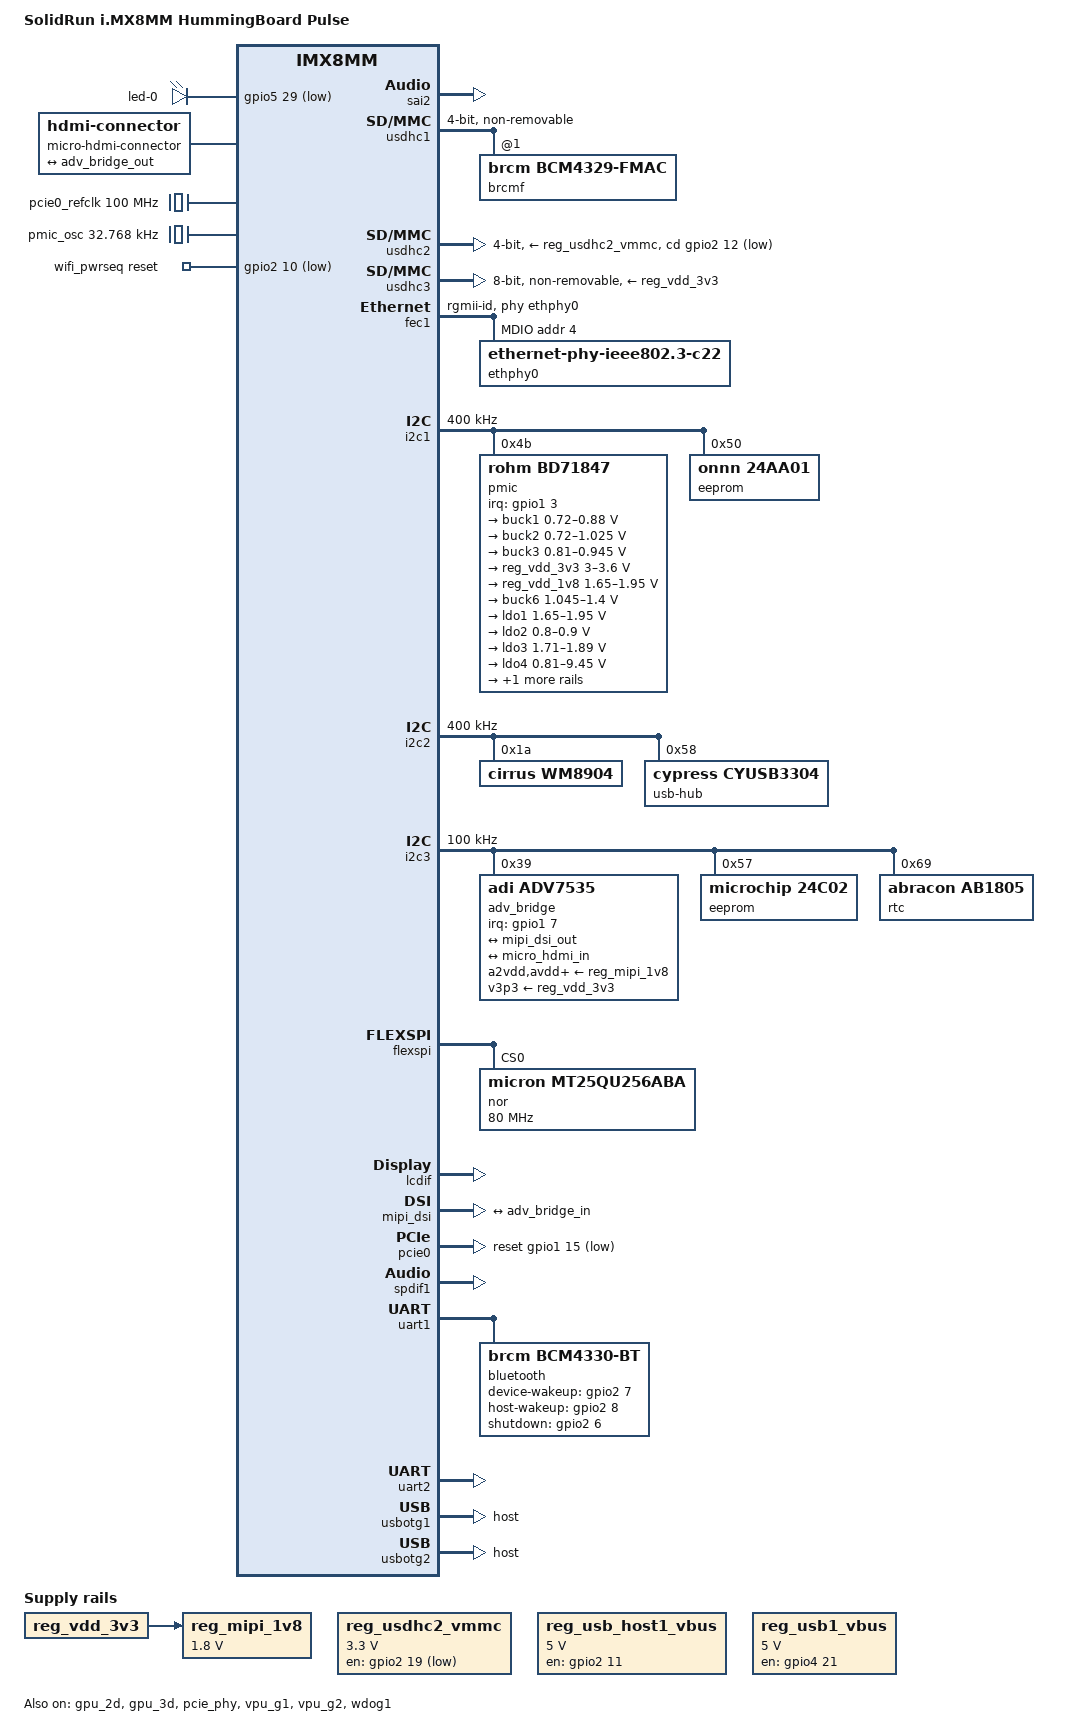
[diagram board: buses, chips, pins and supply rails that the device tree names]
// SPDX-License-Identifier: (GPL-2.0 OR MIT)
/*
 * Copyright (C) 2020 Josua Mayer <josua@solid-run.com>
 */

/dts-v1/;

#include "imx8mm.dtsi"

#include <dt-bindings/phy/phy-imx8-pcie.h>

/ {
	model = "SolidRun i.MX8MM HummingBoard Pulse";
	compatible = "solidrun,hummingboard-pulse", "fsl,imx8mm";

	aliases {
		/* battery-backed external RTC as default */
		rtc0 = &rtc;
		rtc1 = &snvs_rtc;
	};

	chosen {
		stdout-path = &uart2;
	};

	led {
		compatible = "gpio-leds";
		pinctrl-names = "default";
		pinctrl-0 = <&pinctrl_led>;

		led-0 {
			gpios = <&gpio5 29 GPIO_ACTIVE_LOW>;
			linux,default-trigger = "heartbeat";
		};
	};

	micro-hdmi-connector {
		compatible = "hdmi-connector";
		type = "d";

		port {
			micro_hdmi_in: endpoint {
				remote-endpoint = <&adv_bridge_out>;
			};
		};
	};

	pcie0_refclk: pcie0-refclk {
		compatible = "fixed-clock";
		#clock-cells = <0>;
		clock-frequency = <100000000>;
	};

	pmic_osc: clock-pmic {
		compatible = "fixed-clock";
		#clock-cells = <0>;
		clock-frequency = <32768>;
		clock-output-names = "pmic_osc";
	};

	reg_mipi_1v8: regulator-mipi-1v8 {
		/* TS9011DCX */
		compatible = "regulator-fixed";
		regulator-name = "mipi-1v8";
		regulator-min-microvolt = <1800000>;
		regulator-max-microvolt = <1800000>;
		vin-supply = <&reg_vdd_3v3>;
	};

	reg_usdhc2_vmmc: regulator-usdhc2-vmmc {
		compatible = "regulator-fixed";
		pinctrl-names = "default";
		pinctrl-0 = <&pinctrl_usdhc2_vmmc>;
		regulator-name = "usdhc2-vmmc";
		regulator-min-microvolt = <3300000>;
		regulator-max-microvolt = <3300000>;
		gpio = <&gpio2 19 GPIO_ACTIVE_LOW>;
		off-on-delay = <20000>;
	};

	reg_usb_host1_vbus: regulator-usb-host1-vbus {
		compatible = "regulator-fixed";
		regulator-name = "usb-host1-vbus";
		gpio = <&gpio2 11 GPIO_ACTIVE_HIGH>;
		enable-active-high;
		regulator-boot-on;
		pinctrl-names = "default";
		pinctrl-0 = <&pinctrl_usb_host1_vbus>;
		regulator-min-microvolt = <5000000>;
		regulator-max-microvolt = <5000000>;
	};

	reg_usb1_vbus: regulator-usb1-vbus {
		compatible = "regulator-fixed";
		regulator-name = "usb1-vbus";
		gpio = <&gpio4 21 GPIO_ACTIVE_HIGH>;
		enable-active-high;
		regulator-boot-on;
		pinctrl-names = "default";
		pinctrl-0 = <&pinctrl_usb1_vbus>;
		regulator-min-microvolt = <5000000>;
		regulator-max-microvolt = <5000000>;
	};

	reserved-memory {
		#address-cells = <2>;
		#size-cells = <2>;
		ranges;

		rpmsg_reserved: rpmsg@0xb8000000 {
			no-map;
			reg = <0 0xb8000000 0 0x400000>;
		};
	};

	sound-micro-hdmi {
		compatible = "simple-audio-card";
		simple-audio-card,format = "i2s";
		simple-audio-card,mclk-fs = <256>;
		simple-audio-card,name = "micro-hdmi-sound";

		simple-audio-card,cpu {
			sound-dai = <&spdif1>;
		};
		simple-audio-card,codec {
			sound-dai = <&adv_bridge>;
		};
	};

	sound-wm8904 {
		compatible = "simple-audio-card";
		simple-audio-card,name = "wm8904-audio";
		simple-audio-card,format = "i2s";
		simple-audio-card,frame-master = <&sound_wm8904_cpu>;
		simple-audio-card,bitclock-master = <&sound_wm8904_cpu>;
		simple-audio-card,widgets =
			"Headphone", "Headphone Jack",
			"Microphone", "Headphone Jack";
		simple-audio-card,routing =
			"Headphone Jack", "HPOUTL",
			"Headphone Jack", "HPOUTR",
			"Headphone Jack", "MICBIAS",
			"IN2R", "Headphone Jack";

		sound_wm8904_cpu: simple-audio-card,cpu {
			sound-dai = <&sai2>;
			dai-tdm-slot-num = <2>;
			dai-tdm-slot-width = <16>;
		};

		sound_wm8904_codec: simple-audio-card,codec {
			sound-dai = <&wm8904>;
		};
	};

	wifi_pwrseq: wifi-pwrseq {
		compatible = "mmc-pwrseq-simple";
		reset-gpios = <&gpio2 10 GPIO_ACTIVE_LOW>;
	};
};

&iomuxc {
	pinctrl_wdog: wdoggrp {
		fsl,pins = <
			MX8MM_IOMUXC_GPIO1_IO02_WDOG1_WDOG_B		0xc6
		>;
	};

	pinctrl_uart1_bt: uart1btgrp {
		fsl,pins = <
			MX8MM_IOMUXC_SD1_DATA4_GPIO2_IO6	0x41	/* bt-en */
			MX8MM_IOMUXC_SD1_DATA6_GPIO2_IO8	0x41	/* bt-wake-host*/ 
			MX8MM_IOMUXC_SD1_DATA5_GPIO2_IO7	0x41	/* bt-wake-device*/ 
		>;
	};

	pinctrl_uart1: uart1grp {
		fsl,pins = <
			MX8MM_IOMUXC_UART1_RXD_UART1_DCE_RX	0x140
			MX8MM_IOMUXC_UART1_TXD_UART1_DCE_TX	0x140
			MX8MM_IOMUXC_UART3_RXD_UART1_DCE_CTS_B	0x140
			MX8MM_IOMUXC_UART3_TXD_UART1_DCE_RTS_B	0x140
		>;
	};

	pinctrl_uart2: uart2grp {
		fsl,pins = <
			MX8MM_IOMUXC_UART2_RXD_UART2_DCE_RX	0x140
			MX8MM_IOMUXC_UART2_TXD_UART2_DCE_TX	0x140
		>;
	};

	pinctrl_led: ledgrp {
		fsl,pins = <
			MX8MM_IOMUXC_UART4_TXD_GPIO5_IO29	0x61 /* open drain, pull up */
		>;
	};

	pinctrl_usdhc1_wifi: usdhc1wifigrp {
		fsl,pins = <
			MX8MM_IOMUXC_SD1_RESET_B_GPIO2_IO10	0x41	/* wl-en */
			MX8MM_IOMUXC_SD1_DATA7_GPIO2_IO9	0x141	/* wl-wake-host */
		>;
	};

	pinctrl_usdhc1: usdhc1grp {
		fsl,pins = <
			MX8MM_IOMUXC_SD1_CLK_USDHC1_CLK		0x190
			MX8MM_IOMUXC_SD1_CMD_USDHC1_CMD		0x1d0
			MX8MM_IOMUXC_SD1_DATA0_USDHC1_DATA0	0x1d0
			MX8MM_IOMUXC_SD1_DATA1_USDHC1_DATA1	0x1d0
			MX8MM_IOMUXC_SD1_DATA2_USDHC1_DATA2	0x1d0
			MX8MM_IOMUXC_SD1_DATA3_USDHC1_DATA3	0x1d0
			MX8MM_IOMUXC_GPIO1_IO00_ANAMIX_REF_CLK_32K 0x141
		>;
	};

	pinctrl_usdhc1_100mhz: usdhc1100mhzgrp {
		fsl,pins = <
			MX8MM_IOMUXC_SD1_CLK_USDHC1_CLK		0x194
			MX8MM_IOMUXC_SD1_CMD_USDHC1_CMD		0x1d4
			MX8MM_IOMUXC_SD1_DATA0_USDHC1_DATA0	0x1d4
			MX8MM_IOMUXC_SD1_DATA1_USDHC1_DATA1	0x1d4
			MX8MM_IOMUXC_SD1_DATA2_USDHC1_DATA2	0x1d4
			MX8MM_IOMUXC_SD1_DATA3_USDHC1_DATA3	0x1d4
		>;
	};

	pinctrl_usdhc1_200mhz: usdhc1200mhzgrp {
		fsl,pins = <
			MX8MM_IOMUXC_SD1_CLK_USDHC1_CLK		0x196
			MX8MM_IOMUXC_SD1_CMD_USDHC1_CMD		0x1d6
			MX8MM_IOMUXC_SD1_DATA0_USDHC1_DATA0	0x1d6
			MX8MM_IOMUXC_SD1_DATA1_USDHC1_DATA1	0x1d6
			MX8MM_IOMUXC_SD1_DATA2_USDHC1_DATA2	0x1d6
			MX8MM_IOMUXC_SD1_DATA3_USDHC1_DATA3	0x1d6
		>;
	};

	pinctrl_usdhc2_cd: usdhc2cdgrp {
		fsl,pins = <
			MX8MM_IOMUXC_SD2_CD_B_GPIO2_IO12	0x1c4
		>;
	};

	pinctrl_usdhc2_vmmc: usdhc2vmmcgrp {
		fsl,pins = <
			MX8MM_IOMUXC_SD2_RESET_B_GPIO2_IO19	0x41
		>;
	};

	pinctrl_usdhc2_vqmmc: usdhc2vqmmcgrp {
		fsl,pins = <
			MX8MM_IOMUXC_GPIO1_IO04_GPIO1_IO4	0x41
		>;
	};

	pinctrl_usdhc2: usdhc2grp {
		fsl,pins = <
			MX8MM_IOMUXC_SD2_CLK_USDHC2_CLK		0x190
			MX8MM_IOMUXC_SD2_CMD_USDHC2_CMD		0x1d0
			MX8MM_IOMUXC_SD2_DATA0_USDHC2_DATA0	0x1d0
			MX8MM_IOMUXC_SD2_DATA1_USDHC2_DATA1	0x1d0
			MX8MM_IOMUXC_SD2_DATA2_USDHC2_DATA2	0x1d0
			MX8MM_IOMUXC_SD2_DATA3_USDHC2_DATA3	0x1d0
			MX8MM_IOMUXC_GPIO1_IO04_USDHC2_VSELECT	0x1d0
		>;
	};

	pinctrl_usdhc2_100mhz: usdhc2100mhzgrp {
		fsl,pins = <
			MX8MM_IOMUXC_SD2_CLK_USDHC2_CLK		0x194
			MX8MM_IOMUXC_SD2_CMD_USDHC2_CMD		0x1d4
			MX8MM_IOMUXC_SD2_DATA0_USDHC2_DATA0	0x1d4
			MX8MM_IOMUXC_SD2_DATA1_USDHC2_DATA1	0x1d4
			MX8MM_IOMUXC_SD2_DATA2_USDHC2_DATA2	0x1d4
			MX8MM_IOMUXC_SD2_DATA3_USDHC2_DATA3	0x1d4
			MX8MM_IOMUXC_GPIO1_IO04_USDHC2_VSELECT	0x1d0
		>;
	};

	pinctrl_usdhc2_200mhz: usdhc2200mhzgrp {
		fsl,pins = <
			MX8MM_IOMUXC_SD2_CLK_USDHC2_CLK		0x196
			MX8MM_IOMUXC_SD2_CMD_USDHC2_CMD		0x1d6
			MX8MM_IOMUXC_SD2_DATA0_USDHC2_DATA0	0x1d6
			MX8MM_IOMUXC_SD2_DATA1_USDHC2_DATA1	0x1d6
			MX8MM_IOMUXC_SD2_DATA2_USDHC2_DATA2	0x1d6
			MX8MM_IOMUXC_SD2_DATA3_USDHC2_DATA3	0x1d6
			MX8MM_IOMUXC_GPIO1_IO04_USDHC2_VSELECT	0x1d0
		>;
	};

	pinctrl_usdhc3: usdhc3grp {
		fsl,pins = <
			MX8MM_IOMUXC_NAND_WE_B_USDHC3_CLK		0x190
			MX8MM_IOMUXC_NAND_WP_B_USDHC3_CMD		0x1d0
			MX8MM_IOMUXC_NAND_DATA04_USDHC3_DATA0		0x1d0
			MX8MM_IOMUXC_NAND_DATA05_USDHC3_DATA1		0x1d0
			MX8MM_IOMUXC_NAND_DATA06_USDHC3_DATA2		0x1d0
			MX8MM_IOMUXC_NAND_DATA07_USDHC3_DATA3		0x1d0
			MX8MM_IOMUXC_NAND_RE_B_USDHC3_DATA4		0x1d0
			MX8MM_IOMUXC_NAND_CE2_B_USDHC3_DATA5		0x1d0
			MX8MM_IOMUXC_NAND_CE3_B_USDHC3_DATA6		0x1d0
			MX8MM_IOMUXC_NAND_CLE_USDHC3_DATA7		0x1d0
			MX8MM_IOMUXC_NAND_CE1_B_USDHC3_STROBE 		0x190
		>;
	};

	pinctrl_usdhc3_100mhz: usdhc3grp100mhz {
		fsl,pins = <
			MX8MM_IOMUXC_NAND_WE_B_USDHC3_CLK		0x194
			MX8MM_IOMUXC_NAND_WP_B_USDHC3_CMD		0x1d4
			MX8MM_IOMUXC_NAND_DATA04_USDHC3_DATA0		0x1d4
			MX8MM_IOMUXC_NAND_DATA05_USDHC3_DATA1		0x1d4
			MX8MM_IOMUXC_NAND_DATA06_USDHC3_DATA2		0x1d4
			MX8MM_IOMUXC_NAND_DATA07_USDHC3_DATA3		0x1d4
			MX8MM_IOMUXC_NAND_RE_B_USDHC3_DATA4		0x1d4
			MX8MM_IOMUXC_NAND_CE2_B_USDHC3_DATA5		0x1d4
			MX8MM_IOMUXC_NAND_CE3_B_USDHC3_DATA6		0x1d4
			MX8MM_IOMUXC_NAND_CLE_USDHC3_DATA7		0x1d4
			MX8MM_IOMUXC_NAND_CE1_B_USDHC3_STROBE 		0x194
		>;
	};

	pinctrl_usdhc3_200mhz: usdhc3grp200mhz {
		fsl,pins = <
			MX8MM_IOMUXC_NAND_WE_B_USDHC3_CLK		0x196
			MX8MM_IOMUXC_NAND_WP_B_USDHC3_CMD		0x1d6
			MX8MM_IOMUXC_NAND_DATA04_USDHC3_DATA0		0x1d6
			MX8MM_IOMUXC_NAND_DATA05_USDHC3_DATA1		0x1d6
			MX8MM_IOMUXC_NAND_DATA06_USDHC3_DATA2		0x1d6
			MX8MM_IOMUXC_NAND_DATA07_USDHC3_DATA3		0x1d6
			MX8MM_IOMUXC_NAND_RE_B_USDHC3_DATA4		0x1d6
			MX8MM_IOMUXC_NAND_CE2_B_USDHC3_DATA5		0x1d6
			MX8MM_IOMUXC_NAND_CE3_B_USDHC3_DATA6		0x1d6
			MX8MM_IOMUXC_NAND_CLE_USDHC3_DATA7		0x1d6
			MX8MM_IOMUXC_NAND_CE1_B_USDHC3_STROBE 		0x196
		>;
	};

	pinctrl_fec1: fec1grp {
		fsl,pins = <
			MX8MM_IOMUXC_ENET_MDC_ENET1_MDC		0x3
			MX8MM_IOMUXC_ENET_MDIO_ENET1_MDIO	0x3
			MX8MM_IOMUXC_ENET_TD3_ENET1_RGMII_TD3	0x1f
			MX8MM_IOMUXC_ENET_TD2_ENET1_RGMII_TD2	0x1f
			MX8MM_IOMUXC_ENET_TD1_ENET1_RGMII_TD1	0x1f
			MX8MM_IOMUXC_ENET_TD0_ENET1_RGMII_TD0	0x1f
			MX8MM_IOMUXC_ENET_RD3_ENET1_RGMII_RD3	0x91
			MX8MM_IOMUXC_ENET_RD2_ENET1_RGMII_RD2	0x91
			MX8MM_IOMUXC_ENET_RD1_ENET1_RGMII_RD1	0x91
			MX8MM_IOMUXC_ENET_RD0_ENET1_RGMII_RD0	0x91
			MX8MM_IOMUXC_ENET_TXC_ENET1_RGMII_TXC	0x1f
			MX8MM_IOMUXC_ENET_RXC_ENET1_RGMII_RXC	0x91
			MX8MM_IOMUXC_ENET_RX_CTL_ENET1_RGMII_RX_CTL	0x91
			MX8MM_IOMUXC_ENET_TX_CTL_ENET1_RGMII_TX_CTL	0x1f
			MX8MM_IOMUXC_SAI2_RXC_GPIO4_IO22	0x19
		>;
	};

	pinctrl_usb_host1_vbus: usbhost1vbusgrp {
		fsl,pins = <
			MX8MM_IOMUXC_SD1_STROBE_GPIO2_IO11		0x03
		>;
	};

	pinctrl_usb1_vbus: usb1vbusgrp {
		fsl,pins = <
			MX8MM_IOMUXC_SAI2_RXFS_GPIO4_IO21		0x03
		>;
	};

	pinctrl_i2c1: i2c1grp {
		fsl,pins = <
			MX8MM_IOMUXC_I2C1_SCL_I2C1_SCL			0x400001c3
			MX8MM_IOMUXC_I2C1_SDA_I2C1_SDA			0x400001c3
		>;
	};

	pinctrl_i2c2: i2c2grp {
		fsl,pins = <
			MX8MM_IOMUXC_I2C2_SCL_I2C2_SCL			0x400001c3
			MX8MM_IOMUXC_I2C2_SDA_I2C2_SDA			0x400001c3
		>;
	};

	pinctrl_i2c3: i2c3grp {
		fsl,pins = <
			MX8MM_IOMUXC_I2C3_SCL_I2C3_SCL			0x400001c3
			MX8MM_IOMUXC_I2C3_SDA_I2C3_SDA			0x400001c3
		>;
	};

	pinctrl_i2c3_dsi_ts_int: i2c3dsitsintgrp {
		fsl,pins = <
			MX8MM_IOMUXC_GPIO1_IO07_GPIO1_IO7		0x19
		>;
	};

	pinctrl_pmic: pmicirq {
		fsl,pins = <
			MX8MM_IOMUXC_GPIO1_IO03_GPIO1_IO3		0x141
		>;
	};

	pinctrl_flexspi0: flexspi0grp {
		fsl,pins = <
			MX8MM_IOMUXC_NAND_ALE_QSPI_A_SCLK		0x1c2
			MX8MM_IOMUXC_NAND_CE0_B_QSPI_A_SS0_B		0x82
			MX8MM_IOMUXC_NAND_DATA00_QSPI_A_DATA0		0x82
			MX8MM_IOMUXC_NAND_DATA01_QSPI_A_DATA1		0x82
			MX8MM_IOMUXC_NAND_DATA02_QSPI_A_DATA2		0x82
			MX8MM_IOMUXC_NAND_DATA03_QSPI_A_DATA3		0x82
		>;
	};

	pinctrl_pcie0: pcie0grp {
		fsl,pins = <
			MX8MM_IOMUXC_UART4_RXD_PCIE1_CLKREQ_B	0x61 /* open drain, pull up */
			MX8MM_IOMUXC_GPIO1_IO05_GPIO1_IO5	0x41 /* disable-gpio */
			MX8MM_IOMUXC_GPIO1_IO15_GPIO1_IO15	0x41 /* reset-gpio */
		>;
	};

	pinctrl_spdif1: spdif1-grp {
		fsl,pins = <
			MX8MM_IOMUXC_SPDIF_TX_SPDIF1_OUT	0xd6
		>;
	};

	pinctrl_sai2: sai2grp {
		fsl,pins = <
			MX8MM_IOMUXC_SAI2_TXFS_SAI2_TX_SYNC     0xd6
			MX8MM_IOMUXC_SAI2_TXC_SAI2_TX_BCLK      0xd6
			MX8MM_IOMUXC_SAI2_MCLK_SAI2_MCLK        0xd6
			MX8MM_IOMUXC_SAI2_TXD0_SAI2_TX_DATA0    0xd6
			MX8MM_IOMUXC_SAI2_RXD0_SAI2_RX_DATA0    0xd6
		>;
	};
};

/* linked to wm8904 codec */
&sai2 {
	#sound-dai-cells = <0>;
	pinctrl-names = "default";
	pinctrl-0 = <&pinctrl_sai2>;
	assigned-clocks = <&clk IMX8MM_CLK_SAI2>;
	assigned-clock-parents = <&clk IMX8MM_AUDIO_PLL1_OUT>;
	assigned-clock-rates = <24576000>;
	status = "okay";
};

/* wifi (optional) */
&usdhc1 {
	#address-cells = <1>;
	#size-cells = <0>;
	pinctrl-names = "default", "state_100mhz", "state_200mhz";
	pinctrl-0 = <&pinctrl_usdhc1>, <&pinctrl_usdhc1_wifi>;
	pinctrl-1 = <&pinctrl_usdhc1_100mhz>, <&pinctrl_usdhc1_wifi>;
	pinctrl-2 = <&pinctrl_usdhc1_200mhz>, <&pinctrl_usdhc1_wifi>;
	bus-width = <4>;
	mmc-pwrseq = <&wifi_pwrseq>;
	cap-power-off-card;
	non-removable;
	status = "okay";

	brcmf: brcmf@1 {
		reg = <1>;
		compatible = "brcm,bcm4329-fmac";
		/*
		 * disable OOB IRQ because interrupt-storm was observed ...
		 * interrupt-parent = <&gpio2>;
		 * interrupts = <9 IRQ_TYPE_LEVEL_HIGH>;
		 * interrupt-names = "host-wake";
		 */
	};
};

/* microSD */
&usdhc2 {
	pinctrl-names = "default", "state_100mhz", "state_200mhz";
	pinctrl-0 = <&pinctrl_usdhc2>, <&pinctrl_usdhc2_cd>;
	pinctrl-1 = <&pinctrl_usdhc2_100mhz>, <&pinctrl_usdhc2_cd>;
	pinctrl-2 = <&pinctrl_usdhc2_200mhz>, <&pinctrl_usdhc2_cd>;
	cd-gpios = <&gpio2 12 GPIO_ACTIVE_LOW>;
	bus-width = <4>;
	vmmc-supply = <&reg_usdhc2_vmmc>;
	status = "okay";
};

/* eMMC */
&usdhc3 {
	pinctrl-names = "default", "state_100mhz", "state_200mhz";
	pinctrl-0 = <&pinctrl_usdhc3>;
	pinctrl-1 = <&pinctrl_usdhc3_100mhz>;
	pinctrl-2 = <&pinctrl_usdhc3_200mhz>;
	vmmc-supply = <&reg_vdd_3v3>;
	vqmmc-supply = <&reg_vdd_1v8>;
	bus-width = <8>;
	non-removable;
	status = "okay";
};

&fec1 {
	pinctrl-names = "default";
	pinctrl-0 = <&pinctrl_fec1>;
	phy-mode = "rgmii-id";
	phy-handle = <&ethphy0>;
	fsl,magic-packet;
	status = "okay";

	mdio {
		#address-cells = <1>;
		#size-cells = <0>;

		ethphy0: ethernet-phy@4 {
			compatible = "ethernet-phy-ieee802.3-c22";
			reg = <4>;
			at803x,led-act-blind-workaround;
			at803x,eee-okay;
			at803x,vddio-1p8v;
		};
	};
};

&i2c1 {
	clock-frequency = <400000>;
	pinctrl-names = "default";
	pinctrl-0 = <&pinctrl_i2c1>;
	status = "okay";

	pmic@4b {
		compatible = "rohm,bd71847";
		reg = <0x4b>;
		pinctrl-names = "default";
		pinctrl-0 = <&pinctrl_pmic>;
		interrupt-parent = <&gpio1>;
		interrupts = <3 IRQ_TYPE_LEVEL_LOW>;
		rohm,reset-snvs-powered;
		rohm,short-press-ms = <10>;
		rohm,long-press-ms = <2000>;
		#clock-cells = <0>;
		clocks = <&osc_32k 0>;
		clock-output-names = "clk-32k-out";

		regulators {
			#address-cells = <1>;
			#size-cells = <0>;

			/* vdd_soc: 0.805-0.900V (typ=0.8V) */
			BUCK1 {
				regulator-name = "buck1";
				regulator-min-microvolt = <720000>;
				regulator-max-microvolt = <880000>;
				regulator-boot-on;
				regulator-always-on;
				regulator-ramp-delay = <1250>;
			};

			/* vdd_arm_0v9 */
			BUCK2 {
				regulator-name = "buck2";
				regulator-min-microvolt = <720000>;
				regulator-max-microvolt = <1025000>;
				regulator-boot-on;
				regulator-always-on;
				regulator-ramp-delay = <1250>;
				rohm,dvs-run-voltage = <1000000>;
				rohm,dvs-idle-voltage = <900000>;
			};

			/*
			 * Note that BUCK 3~6 are actually called BUCK 5~8
			 * on the iMX8 Mini and BD71847 datasheets, as well
			 * as the schematics from SolidRun.
			 * Someone screwed up the bindings for the regulators.
			 */
			/* vdd_dram / pu_0v9 (GPU+VPU) (typ=0.9V) */
			BUCK3 {
				regulator-name = "buck3";
				regulator-min-microvolt = <810000>;
				regulator-max-microvolt = <945000>;
				regulator-boot-on;
				regulator-always-on;
			};

			reg_vdd_3v3: BUCK4 {
				regulator-name = "buck4";
				regulator-min-microvolt = <3000000>;
				regulator-max-microvolt = <3600000>;
				regulator-boot-on;
				regulator-always-on;
			};

			reg_vdd_1v8: BUCK5 {
				regulator-name = "buck5";
				regulator-min-microvolt = <1650000>;
				regulator-max-microvolt = <1950000>;
				regulator-boot-on;
				regulator-always-on;
			};

			/* nvcc_dram_1v1 */
			BUCK6 {
				regulator-name = "buck6";
				regulator-min-microvolt = <1045000>;
				regulator-max-microvolt = <1400000>;
				regulator-boot-on;
				regulator-always-on;
			};

			/* nvcc_snvs_1v8 */
			LDO1 {
				regulator-name = "ldo1";
				regulator-min-microvolt = <1650000>;
				regulator-max-microvolt = <1950000>;
				regulator-boot-on;
				regulator-always-on;
			};

			/* vdd_snvs_0v8 */
			LDO2 {
				regulator-name = "ldo2";
				regulator-min-microvolt = <800000>;
				regulator-max-microvolt = <900000>;
				regulator-boot-on;
				regulator-always-on;
			};

			/* vdda_1v8 */
			LDO3 {
				regulator-name = "ldo3";
				regulator-min-microvolt = <1710000>;
				regulator-max-microvolt = <1890000>;
				regulator-boot-on;
				regulator-always-on;
			};

			/* vdd_phy_0v9 for MIPI PHY */
			LDO4 {
				regulator-name = "ldo4";
				regulator-min-microvolt = <810000>;
				regulator-max-microvolt = <9450000>;
				regulator-boot-on;
				regulator-always-on;
			};

			/* vdd_phy_1v2 feeds MIPI PHY */
			LDO6 {
				regulator-name = "ldo6";
				regulator-min-microvolt = <1140000>;
				regulator-max-microvolt = <1260000>;
				regulator-boot-on;
				regulator-always-on;
			};
		};
	};

	eeprom@50 {
		compatible = "onnn,24aa01", "atmel,24c02";
		reg = <0x50>;
		pagesize = <16>;
	};
};

&i2c2 {
	clock-frequency = <400000>;
	pinctrl-names = "default";
	pinctrl-0 = <&pinctrl_i2c2>;
	status = "okay";

	wm8904: codec@1a {
		#sound-dai-cells = <0>;
		compatible = "cirrus,wm8904", "wlf,wm8904";
		reg = <0x1a>;
		clocks = <&clk IMX8MM_CLK_SAI2_ROOT>;
		clock-names = "mclk";
		status = "okay";
	};

	usb-hub@58 {
		compatible = "cypress,cyusb3304";
		reg = <0x58>;
	};
};

&i2c3 {
	clock-frequency = <100000>;
	pinctrl-names = "default";
	pinctrl-0 = <&pinctrl_i2c3>;
	status = "okay";

	adv_bridge: bridge@39 {
		compatible = "adi,adv7535";
		reg = <0x39>, <0x3b>, <0x3c>;
		reg-names = "main", "edid", "cec";
		adi,dsi-lanes = <4>;
		pinctrl-0 = <&pinctrl_i2c3_dsi_ts_int>;
		interrupt-parent = <&gpio1>;
		interrupts = <7 IRQ_TYPE_LEVEL_LOW>;
		a2vdd-supply = <&reg_mipi_1v8>;
		avdd-supply = <&reg_mipi_1v8>;
		dvdd-supply = <&reg_mipi_1v8>;
		pvdd-supply = <&reg_mipi_1v8>;
		v1p2-supply = <&reg_mipi_1v8>;
		v3p3-supply = <&reg_vdd_3v3>;
		#sound-dai-cells = <0>;

		ports {
			#address-cells = <1>;
			#size-cells = <0>;

			port@0 {
				reg = <0>;
				adv_bridge_in: endpoint {
					remote-endpoint = <&mipi_dsi_out>;
				};
			};

			port@1 {
				reg = <1>;
				adv_bridge_out: endpoint {
					remote-endpoint = <&micro_hdmi_in>;
				};
			};
		};
	};

	eeprom@57 {
		compatible = "microchip,24c02", "atmel,24c02";
		reg = <0x57>;
		pagesize = <16>;
	};

	rtc: rtc@69 {
		compatible = "abracon,ab1805";
		reg = <0x69>;
		abracon,tc-diode = "schottky";
		abracon,tc-resistor = <3>;
	};
};

&flexspi {
	pinctrl-names = "default";
	pinctrl-0 = <&pinctrl_flexspi0>;
	status = "okay";

	nor@0 {
		compatible = "micron,mt25qu256aba";
		reg = <0>;
		#address-cells = <1>;
		#size-cells = <1>;
		spi-max-frequency = <80000000>;
		spi-nor,ddr-quad-read-dummy = <6>;
	};
};

&gpu_2d {
	status = "okay";
};

&gpu_3d {
	status = "okay";
};

&lcdif {
	status = "okay";
};

&mipi_dsi {
	samsung,esc-clock-frequency = <10000000>;
	status = "okay";

	ports {
		port@1 {
			reg = <1>;
			mipi_dsi_out: endpoint {
				remote-endpoint = <&adv_bridge_in>;
			};
		};
	};
};

&pcie_phy {
	fsl,refclk-pad-mode = <IMX8_PCIE_REFCLK_PAD_UNUSED>;
	fsl,clkreq-unsupported;
	status = "okay";
};

/* connected to on-Carrier i210 ethernet controller or on-SOM AI accelerator */
&pcie0 {
	pinctrl-names = "default";
	pinctrl-0 = <&pinctrl_pcie0>;
	disable-gpio = <&gpio1 5 GPIO_ACTIVE_LOW>;
	reset-gpio = <&gpio1 15 GPIO_ACTIVE_LOW>;
	clocks = <&clk IMX8MM_CLK_PCIE1_ROOT>,
		 <&clk IMX8MM_CLK_PCIE1_AUX>,
		 <&clk IMX8MM_CLK_PCIE1_PHY>,
		 <&pcie0_refclk>;
	clock-names = "pcie", "pcie_aux", "pcie_phy", "pcie_bus";
	reserved-region = <&rpmsg_reserved>;
	status = "okay";
};

/* linked to adv7535 HDMI bridge */
&spdif1 {
	#sound-dai-cells = <0>;
	pinctrl-names = "default";
	pinctrl-0 = <&pinctrl_spdif1>;
	status = "okay";
};

&vpu_g1 {
	status = "okay";
};

&vpu_g2 {
	status = "okay";
};

&uart1 {
	pinctrl-names = "default";
	pinctrl-0 = <&pinctrl_uart1>;
	assigned-clocks = <&clk IMX8MM_CLK_UART1>;
	assigned-clock-parents = <&clk IMX8MM_SYS_PLL1_80M>;
	fsl,uart-has-rtscts;
	status = "okay";

	bluetooth {
		compatible = "brcm,bcm4330-bt";
		device-wakeup-gpios = <&gpio2 7 GPIO_ACTIVE_HIGH>;
		host-wakeup-gpios = <&gpio2 8 GPIO_ACTIVE_HIGH>;
		shutdown-gpios = <&gpio2 6 GPIO_ACTIVE_HIGH>;
		pinctrl-names = "default";
		pinctrl-0 = <&pinctrl_uart1_bt>;
	};
};

&uart2 {
	pinctrl-names = "default";
	pinctrl-0 = <&pinctrl_uart2>;
	status = "okay";
};

&usbotg1 {
	dr_mode = "host";
	status = "okay";
};

&usbotg2 {
	dr_mode = "host";
	status = "okay";
};

&usbphynop1 {
	vbus-supply = <&reg_usb1_vbus>;
};

&usbphynop2 {
	vbus-supply = <&reg_usb_host1_vbus>;
};

&wdog1 {
	pinctrl-names = "default";
	pinctrl-0 = <&pinctrl_wdog>;
	fsl,ext-reset-output;
	status = "okay";
};

